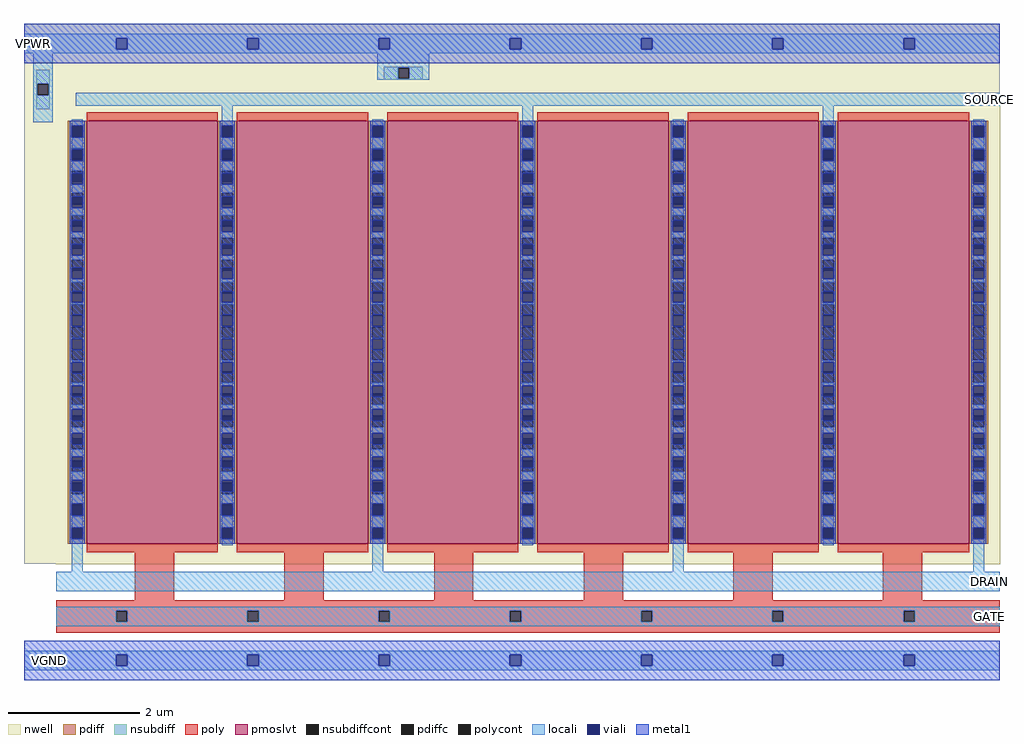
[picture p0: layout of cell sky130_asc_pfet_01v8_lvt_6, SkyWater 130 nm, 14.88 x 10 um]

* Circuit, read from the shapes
.subckt sky130_asc_pfet_01v8_lvt_6 GATE SOURCE DRAIN VPWR VGND
XM1 SOURCE GATE DRAIN VPWR sky130_fd_pr__pfet_01v8_lvt w=6.45 l=2 m=6
.ends

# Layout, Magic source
magic
tech sky130A
magscale 1 2
<< nwell >>
rect 120 1707 3094 1940
rect 120 294 3095 1707
rect 217 293 3095 294
<< pmoslvt >>
rect 311 355 711 1645
rect 769 355 1169 1645
rect 1227 355 1627 1645
rect 1685 355 2085 1645
rect 2143 355 2543 1645
rect 2601 355 3001 1645
<< pdiff >>
rect 253 1629 311 1645
rect 253 1595 265 1629
rect 299 1595 311 1629
rect 253 1561 311 1595
rect 253 1527 265 1561
rect 299 1527 311 1561
rect 253 1493 311 1527
rect 253 1459 265 1493
rect 299 1459 311 1493
rect 253 1425 311 1459
rect 253 1391 265 1425
rect 299 1391 311 1425
rect 253 1357 311 1391
rect 253 1323 265 1357
rect 299 1323 311 1357
rect 253 1289 311 1323
rect 253 1255 265 1289
rect 299 1255 311 1289
rect 253 1221 311 1255
rect 253 1187 265 1221
rect 299 1187 311 1221
rect 253 1153 311 1187
rect 253 1119 265 1153
rect 299 1119 311 1153
rect 253 1085 311 1119
rect 253 1051 265 1085
rect 299 1051 311 1085
rect 253 1017 311 1051
rect 253 983 265 1017
rect 299 983 311 1017
rect 253 949 311 983
rect 253 915 265 949
rect 299 915 311 949
rect 253 881 311 915
rect 253 847 265 881
rect 299 847 311 881
rect 253 813 311 847
rect 253 779 265 813
rect 299 779 311 813
rect 253 745 311 779
rect 253 711 265 745
rect 299 711 311 745
rect 253 677 311 711
rect 253 643 265 677
rect 299 643 311 677
rect 253 609 311 643
rect 253 575 265 609
rect 299 575 311 609
rect 253 541 311 575
rect 253 507 265 541
rect 299 507 311 541
rect 253 473 311 507
rect 253 439 265 473
rect 299 439 311 473
rect 253 405 311 439
rect 253 371 265 405
rect 299 371 311 405
rect 253 355 311 371
rect 711 1629 769 1645
rect 711 1595 723 1629
rect 757 1595 769 1629
rect 711 1561 769 1595
rect 711 1527 723 1561
rect 757 1527 769 1561
rect 711 1493 769 1527
rect 711 1459 723 1493
rect 757 1459 769 1493
rect 711 1425 769 1459
rect 711 1391 723 1425
rect 757 1391 769 1425
rect 711 1357 769 1391
rect 711 1323 723 1357
rect 757 1323 769 1357
rect 711 1289 769 1323
rect 711 1255 723 1289
rect 757 1255 769 1289
rect 711 1221 769 1255
rect 711 1187 723 1221
rect 757 1187 769 1221
rect 711 1153 769 1187
rect 711 1119 723 1153
rect 757 1119 769 1153
rect 711 1085 769 1119
rect 711 1051 723 1085
rect 757 1051 769 1085
rect 711 1017 769 1051
rect 711 983 723 1017
rect 757 983 769 1017
rect 711 949 769 983
rect 711 915 723 949
rect 757 915 769 949
rect 711 881 769 915
rect 711 847 723 881
rect 757 847 769 881
rect 711 813 769 847
rect 711 779 723 813
rect 757 779 769 813
rect 711 745 769 779
rect 711 711 723 745
rect 757 711 769 745
rect 711 677 769 711
rect 711 643 723 677
rect 757 643 769 677
rect 711 609 769 643
rect 711 575 723 609
rect 757 575 769 609
rect 711 541 769 575
rect 711 507 723 541
rect 757 507 769 541
rect 711 473 769 507
rect 711 439 723 473
rect 757 439 769 473
rect 711 405 769 439
rect 711 371 723 405
rect 757 371 769 405
rect 711 355 769 371
rect 1169 1629 1227 1645
rect 1169 1595 1181 1629
rect 1215 1595 1227 1629
rect 1169 1561 1227 1595
rect 1169 1527 1181 1561
rect 1215 1527 1227 1561
rect 1169 1493 1227 1527
rect 1169 1459 1181 1493
rect 1215 1459 1227 1493
rect 1169 1425 1227 1459
rect 1169 1391 1181 1425
rect 1215 1391 1227 1425
rect 1169 1357 1227 1391
rect 1169 1323 1181 1357
rect 1215 1323 1227 1357
rect 1169 1289 1227 1323
rect 1169 1255 1181 1289
rect 1215 1255 1227 1289
rect 1169 1221 1227 1255
rect 1169 1187 1181 1221
rect 1215 1187 1227 1221
rect 1169 1153 1227 1187
rect 1169 1119 1181 1153
rect 1215 1119 1227 1153
rect 1169 1085 1227 1119
rect 1169 1051 1181 1085
rect 1215 1051 1227 1085
rect 1169 1017 1227 1051
rect 1169 983 1181 1017
rect 1215 983 1227 1017
rect 1169 949 1227 983
rect 1169 915 1181 949
rect 1215 915 1227 949
rect 1169 881 1227 915
rect 1169 847 1181 881
rect 1215 847 1227 881
rect 1169 813 1227 847
rect 1169 779 1181 813
rect 1215 779 1227 813
rect 1169 745 1227 779
rect 1169 711 1181 745
rect 1215 711 1227 745
rect 1169 677 1227 711
rect 1169 643 1181 677
rect 1215 643 1227 677
rect 1169 609 1227 643
rect 1169 575 1181 609
rect 1215 575 1227 609
rect 1169 541 1227 575
rect 1169 507 1181 541
rect 1215 507 1227 541
rect 1169 473 1227 507
rect 1169 439 1181 473
rect 1215 439 1227 473
rect 1169 405 1227 439
rect 1169 371 1181 405
rect 1215 371 1227 405
rect 1169 355 1227 371
rect 1627 1629 1685 1645
rect 1627 1595 1639 1629
rect 1673 1595 1685 1629
rect 1627 1561 1685 1595
rect 1627 1527 1639 1561
rect 1673 1527 1685 1561
rect 1627 1493 1685 1527
rect 1627 1459 1639 1493
rect 1673 1459 1685 1493
rect 1627 1425 1685 1459
rect 1627 1391 1639 1425
rect 1673 1391 1685 1425
rect 1627 1357 1685 1391
rect 1627 1323 1639 1357
rect 1673 1323 1685 1357
rect 1627 1289 1685 1323
rect 1627 1255 1639 1289
rect 1673 1255 1685 1289
rect 1627 1221 1685 1255
rect 1627 1187 1639 1221
rect 1673 1187 1685 1221
rect 1627 1153 1685 1187
rect 1627 1119 1639 1153
rect 1673 1119 1685 1153
rect 1627 1085 1685 1119
rect 1627 1051 1639 1085
rect 1673 1051 1685 1085
rect 1627 1017 1685 1051
rect 1627 983 1639 1017
rect 1673 983 1685 1017
rect 1627 949 1685 983
rect 1627 915 1639 949
rect 1673 915 1685 949
rect 1627 881 1685 915
rect 1627 847 1639 881
rect 1673 847 1685 881
rect 1627 813 1685 847
rect 1627 779 1639 813
rect 1673 779 1685 813
rect 1627 745 1685 779
rect 1627 711 1639 745
rect 1673 711 1685 745
rect 1627 677 1685 711
rect 1627 643 1639 677
rect 1673 643 1685 677
rect 1627 609 1685 643
rect 1627 575 1639 609
rect 1673 575 1685 609
rect 1627 541 1685 575
rect 1627 507 1639 541
rect 1673 507 1685 541
rect 1627 473 1685 507
rect 1627 439 1639 473
rect 1673 439 1685 473
rect 1627 405 1685 439
rect 1627 371 1639 405
rect 1673 371 1685 405
rect 1627 355 1685 371
rect 2085 1629 2143 1645
rect 2085 1595 2097 1629
rect 2131 1595 2143 1629
rect 2085 1561 2143 1595
rect 2085 1527 2097 1561
rect 2131 1527 2143 1561
rect 2085 1493 2143 1527
rect 2085 1459 2097 1493
rect 2131 1459 2143 1493
rect 2085 1425 2143 1459
rect 2085 1391 2097 1425
rect 2131 1391 2143 1425
rect 2085 1357 2143 1391
rect 2085 1323 2097 1357
rect 2131 1323 2143 1357
rect 2085 1289 2143 1323
rect 2085 1255 2097 1289
rect 2131 1255 2143 1289
rect 2085 1221 2143 1255
rect 2085 1187 2097 1221
rect 2131 1187 2143 1221
rect 2085 1153 2143 1187
rect 2085 1119 2097 1153
rect 2131 1119 2143 1153
rect 2085 1085 2143 1119
rect 2085 1051 2097 1085
rect 2131 1051 2143 1085
rect 2085 1017 2143 1051
rect 2085 983 2097 1017
rect 2131 983 2143 1017
rect 2085 949 2143 983
rect 2085 915 2097 949
rect 2131 915 2143 949
rect 2085 881 2143 915
rect 2085 847 2097 881
rect 2131 847 2143 881
rect 2085 813 2143 847
rect 2085 779 2097 813
rect 2131 779 2143 813
rect 2085 745 2143 779
rect 2085 711 2097 745
rect 2131 711 2143 745
rect 2085 677 2143 711
rect 2085 643 2097 677
rect 2131 643 2143 677
rect 2085 609 2143 643
rect 2085 575 2097 609
rect 2131 575 2143 609
rect 2085 541 2143 575
rect 2085 507 2097 541
rect 2131 507 2143 541
rect 2085 473 2143 507
rect 2085 439 2097 473
rect 2131 439 2143 473
rect 2085 405 2143 439
rect 2085 371 2097 405
rect 2131 371 2143 405
rect 2085 355 2143 371
rect 2543 1629 2601 1645
rect 2543 1595 2555 1629
rect 2589 1595 2601 1629
rect 2543 1561 2601 1595
rect 2543 1527 2555 1561
rect 2589 1527 2601 1561
rect 2543 1493 2601 1527
rect 2543 1459 2555 1493
rect 2589 1459 2601 1493
rect 2543 1425 2601 1459
rect 2543 1391 2555 1425
rect 2589 1391 2601 1425
rect 2543 1357 2601 1391
rect 2543 1323 2555 1357
rect 2589 1323 2601 1357
rect 2543 1289 2601 1323
rect 2543 1255 2555 1289
rect 2589 1255 2601 1289
rect 2543 1221 2601 1255
rect 2543 1187 2555 1221
rect 2589 1187 2601 1221
rect 2543 1153 2601 1187
rect 2543 1119 2555 1153
rect 2589 1119 2601 1153
rect 2543 1085 2601 1119
rect 2543 1051 2555 1085
rect 2589 1051 2601 1085
rect 2543 1017 2601 1051
rect 2543 983 2555 1017
rect 2589 983 2601 1017
rect 2543 949 2601 983
rect 2543 915 2555 949
rect 2589 915 2601 949
rect 2543 881 2601 915
rect 2543 847 2555 881
rect 2589 847 2601 881
rect 2543 813 2601 847
rect 2543 779 2555 813
rect 2589 779 2601 813
rect 2543 745 2601 779
rect 2543 711 2555 745
rect 2589 711 2601 745
rect 2543 677 2601 711
rect 2543 643 2555 677
rect 2589 643 2601 677
rect 2543 609 2601 643
rect 2543 575 2555 609
rect 2589 575 2601 609
rect 2543 541 2601 575
rect 2543 507 2555 541
rect 2589 507 2601 541
rect 2543 473 2601 507
rect 2543 439 2555 473
rect 2589 439 2601 473
rect 2543 405 2601 439
rect 2543 371 2555 405
rect 2589 371 2601 405
rect 2543 355 2601 371
rect 3001 1629 3059 1645
rect 3001 1595 3013 1629
rect 3047 1595 3059 1629
rect 3001 1561 3059 1595
rect 3001 1527 3013 1561
rect 3047 1527 3059 1561
rect 3001 1493 3059 1527
rect 3001 1459 3013 1493
rect 3047 1459 3059 1493
rect 3001 1425 3059 1459
rect 3001 1391 3013 1425
rect 3047 1391 3059 1425
rect 3001 1357 3059 1391
rect 3001 1323 3013 1357
rect 3047 1323 3059 1357
rect 3001 1289 3059 1323
rect 3001 1255 3013 1289
rect 3047 1255 3059 1289
rect 3001 1221 3059 1255
rect 3001 1187 3013 1221
rect 3047 1187 3059 1221
rect 3001 1153 3059 1187
rect 3001 1119 3013 1153
rect 3047 1119 3059 1153
rect 3001 1085 3059 1119
rect 3001 1051 3013 1085
rect 3047 1051 3059 1085
rect 3001 1017 3059 1051
rect 3001 983 3013 1017
rect 3047 983 3059 1017
rect 3001 949 3059 983
rect 3001 915 3013 949
rect 3047 915 3059 949
rect 3001 881 3059 915
rect 3001 847 3013 881
rect 3047 847 3059 881
rect 3001 813 3059 847
rect 3001 779 3013 813
rect 3047 779 3059 813
rect 3001 745 3059 779
rect 3001 711 3013 745
rect 3047 711 3059 745
rect 3001 677 3059 711
rect 3001 643 3013 677
rect 3047 643 3059 677
rect 3001 609 3059 643
rect 3001 575 3013 609
rect 3047 575 3059 609
rect 3001 541 3059 575
rect 3001 507 3013 541
rect 3047 507 3059 541
rect 3001 473 3059 507
rect 3001 439 3013 473
rect 3047 439 3059 473
rect 3001 405 3059 439
rect 3001 371 3013 405
rect 3047 371 3059 405
rect 3001 355 3059 371
<< pdiffc >>
rect 265 1595 299 1629
rect 265 1527 299 1561
rect 265 1459 299 1493
rect 265 1391 299 1425
rect 265 1323 299 1357
rect 265 1255 299 1289
rect 265 1187 299 1221
rect 265 1119 299 1153
rect 265 1051 299 1085
rect 265 983 299 1017
rect 265 915 299 949
rect 265 847 299 881
rect 265 779 299 813
rect 265 711 299 745
rect 265 643 299 677
rect 265 575 299 609
rect 265 507 299 541
rect 265 439 299 473
rect 265 371 299 405
rect 723 1595 757 1629
rect 723 1527 757 1561
rect 723 1459 757 1493
rect 723 1391 757 1425
rect 723 1323 757 1357
rect 723 1255 757 1289
rect 723 1187 757 1221
rect 723 1119 757 1153
rect 723 1051 757 1085
rect 723 983 757 1017
rect 723 915 757 949
rect 723 847 757 881
rect 723 779 757 813
rect 723 711 757 745
rect 723 643 757 677
rect 723 575 757 609
rect 723 507 757 541
rect 723 439 757 473
rect 723 371 757 405
rect 1181 1595 1215 1629
rect 1181 1527 1215 1561
rect 1181 1459 1215 1493
rect 1181 1391 1215 1425
rect 1181 1323 1215 1357
rect 1181 1255 1215 1289
rect 1181 1187 1215 1221
rect 1181 1119 1215 1153
rect 1181 1051 1215 1085
rect 1181 983 1215 1017
rect 1181 915 1215 949
rect 1181 847 1215 881
rect 1181 779 1215 813
rect 1181 711 1215 745
rect 1181 643 1215 677
rect 1181 575 1215 609
rect 1181 507 1215 541
rect 1181 439 1215 473
rect 1181 371 1215 405
rect 1639 1595 1673 1629
rect 1639 1527 1673 1561
rect 1639 1459 1673 1493
rect 1639 1391 1673 1425
rect 1639 1323 1673 1357
rect 1639 1255 1673 1289
rect 1639 1187 1673 1221
rect 1639 1119 1673 1153
rect 1639 1051 1673 1085
rect 1639 983 1673 1017
rect 1639 915 1673 949
rect 1639 847 1673 881
rect 1639 779 1673 813
rect 1639 711 1673 745
rect 1639 643 1673 677
rect 1639 575 1673 609
rect 1639 507 1673 541
rect 1639 439 1673 473
rect 1639 371 1673 405
rect 2097 1595 2131 1629
rect 2097 1527 2131 1561
rect 2097 1459 2131 1493
rect 2097 1391 2131 1425
rect 2097 1323 2131 1357
rect 2097 1255 2131 1289
rect 2097 1187 2131 1221
rect 2097 1119 2131 1153
rect 2097 1051 2131 1085
rect 2097 983 2131 1017
rect 2097 915 2131 949
rect 2097 847 2131 881
rect 2097 779 2131 813
rect 2097 711 2131 745
rect 2097 643 2131 677
rect 2097 575 2131 609
rect 2097 507 2131 541
rect 2097 439 2131 473
rect 2097 371 2131 405
rect 2555 1595 2589 1629
rect 2555 1527 2589 1561
rect 2555 1459 2589 1493
rect 2555 1391 2589 1425
rect 2555 1323 2589 1357
rect 2555 1255 2589 1289
rect 2555 1187 2589 1221
rect 2555 1119 2589 1153
rect 2555 1051 2589 1085
rect 2555 983 2589 1017
rect 2555 915 2589 949
rect 2555 847 2589 881
rect 2555 779 2589 813
rect 2555 711 2589 745
rect 2555 643 2589 677
rect 2555 575 2589 609
rect 2555 507 2589 541
rect 2555 439 2589 473
rect 2555 371 2589 405
rect 3013 1595 3047 1629
rect 3013 1527 3047 1561
rect 3013 1459 3047 1493
rect 3013 1391 3047 1425
rect 3013 1323 3047 1357
rect 3013 1255 3047 1289
rect 3013 1187 3047 1221
rect 3013 1119 3047 1153
rect 3013 1051 3047 1085
rect 3013 983 3047 1017
rect 3013 915 3047 949
rect 3013 847 3047 881
rect 3013 779 3047 813
rect 3013 711 3047 745
rect 3013 643 3047 677
rect 3013 575 3047 609
rect 3013 507 3047 541
rect 3013 439 3047 473
rect 3013 371 3047 405
<< nsubdiff >>
rect 1216 1807 1336 1810
rect 158 1757 198 1800
rect 1216 1773 1261 1807
rect 1295 1773 1336 1807
rect 1216 1770 1336 1773
rect 158 1723 161 1757
rect 195 1723 198 1757
rect 158 1680 198 1723
<< nsubdiffcont >>
rect 1261 1773 1295 1807
rect 161 1723 195 1757
<< poly >>
rect 311 1645 711 1671
rect 769 1645 1169 1671
rect 1227 1645 1627 1671
rect 1685 1645 2085 1671
rect 2143 1645 2543 1671
rect 2601 1645 3001 1671
rect 311 329 711 355
rect 769 329 1169 355
rect 1227 329 1627 355
rect 1685 329 2085 355
rect 2143 329 2543 355
rect 2601 329 3001 355
rect 458 184 578 329
rect 914 184 1034 329
rect 1370 184 1490 329
rect 1826 184 1946 329
rect 2282 184 2402 329
rect 2738 184 2858 329
rect 218 151 3094 184
rect 218 117 401 151
rect 435 117 801 151
rect 835 117 1201 151
rect 1235 117 1601 151
rect 1635 117 2001 151
rect 2035 117 2401 151
rect 2435 117 2801 151
rect 2835 117 3094 151
rect 218 84 3094 117
<< polycont >>
rect 401 117 435 151
rect 801 117 835 151
rect 1201 117 1235 151
rect 1601 117 1635 151
rect 2001 117 2035 151
rect 2401 117 2435 151
rect 2801 117 2835 151
<< locali >>
rect 120 1897 3094 1910
rect 120 1863 401 1897
rect 435 1863 801 1897
rect 835 1863 1201 1897
rect 1235 1863 1601 1897
rect 1635 1863 2001 1897
rect 2035 1863 2401 1897
rect 2435 1863 2801 1897
rect 2835 1863 3094 1897
rect 120 1850 3094 1863
rect 148 1757 208 1850
rect 1196 1807 1356 1850
rect 1196 1773 1261 1807
rect 1295 1773 1356 1807
rect 1196 1770 1356 1773
rect 148 1723 161 1757
rect 195 1723 208 1757
rect 148 1640 208 1723
rect 278 1690 3094 1730
rect 265 1629 299 1649
rect 265 1561 299 1595
rect 265 1493 299 1523
rect 265 1425 299 1451
rect 265 1357 299 1379
rect 265 1289 299 1307
rect 265 1221 299 1235
rect 265 1153 299 1163
rect 265 1085 299 1091
rect 265 1017 299 1019
rect 265 981 299 983
rect 265 909 299 915
rect 265 837 299 847
rect 265 765 299 779
rect 265 693 299 711
rect 265 621 299 643
rect 265 549 299 575
rect 265 477 299 507
rect 265 405 299 439
rect 265 270 299 371
rect 723 1629 757 1690
rect 723 1561 757 1595
rect 723 1493 757 1523
rect 723 1425 757 1451
rect 723 1357 757 1379
rect 723 1289 757 1307
rect 723 1221 757 1235
rect 723 1153 757 1163
rect 723 1085 757 1091
rect 723 1017 757 1019
rect 723 981 757 983
rect 723 909 757 915
rect 723 837 757 847
rect 723 765 757 779
rect 723 693 757 711
rect 723 621 757 643
rect 723 549 757 575
rect 723 477 757 507
rect 723 405 757 439
rect 723 351 757 371
rect 1181 1629 1215 1649
rect 1181 1561 1215 1595
rect 1181 1493 1215 1523
rect 1181 1425 1215 1451
rect 1181 1357 1215 1379
rect 1181 1289 1215 1307
rect 1181 1221 1215 1235
rect 1181 1153 1215 1163
rect 1181 1085 1215 1091
rect 1181 1017 1215 1019
rect 1181 981 1215 983
rect 1181 909 1215 915
rect 1181 837 1215 847
rect 1181 765 1215 779
rect 1181 693 1215 711
rect 1181 621 1215 643
rect 1181 549 1215 575
rect 1181 477 1215 507
rect 1181 405 1215 439
rect 1181 270 1215 371
rect 1639 1629 1673 1690
rect 1639 1561 1673 1595
rect 1639 1493 1673 1523
rect 1639 1425 1673 1451
rect 1639 1357 1673 1379
rect 1639 1289 1673 1307
rect 1639 1221 1673 1235
rect 1639 1153 1673 1163
rect 1639 1085 1673 1091
rect 1639 1017 1673 1019
rect 1639 981 1673 983
rect 1639 909 1673 915
rect 1639 837 1673 847
rect 1639 765 1673 779
rect 1639 693 1673 711
rect 1639 621 1673 643
rect 1639 549 1673 575
rect 1639 477 1673 507
rect 1639 405 1673 439
rect 1639 351 1673 371
rect 2097 1629 2131 1649
rect 2097 1561 2131 1595
rect 2097 1493 2131 1523
rect 2097 1425 2131 1451
rect 2097 1357 2131 1379
rect 2097 1289 2131 1307
rect 2097 1221 2131 1235
rect 2097 1153 2131 1163
rect 2097 1085 2131 1091
rect 2097 1017 2131 1019
rect 2097 981 2131 983
rect 2097 909 2131 915
rect 2097 837 2131 847
rect 2097 765 2131 779
rect 2097 693 2131 711
rect 2097 621 2131 643
rect 2097 549 2131 575
rect 2097 477 2131 507
rect 2097 405 2131 439
rect 2097 270 2131 371
rect 2555 1629 2589 1690
rect 2555 1561 2589 1595
rect 2555 1493 2589 1523
rect 2555 1425 2589 1451
rect 2555 1357 2589 1379
rect 2555 1289 2589 1307
rect 2555 1221 2589 1235
rect 2555 1153 2589 1163
rect 2555 1085 2589 1091
rect 2555 1017 2589 1019
rect 2555 981 2589 983
rect 2555 909 2589 915
rect 2555 837 2589 847
rect 2555 765 2589 779
rect 2555 693 2589 711
rect 2555 621 2589 643
rect 2555 549 2589 575
rect 2555 477 2589 507
rect 2555 405 2589 439
rect 2555 351 2589 371
rect 3013 1629 3047 1649
rect 3013 1561 3047 1595
rect 3013 1493 3047 1523
rect 3013 1425 3047 1451
rect 3013 1357 3047 1379
rect 3013 1289 3047 1307
rect 3013 1221 3047 1235
rect 3013 1153 3047 1163
rect 3013 1085 3047 1091
rect 3013 1017 3047 1019
rect 3013 981 3047 983
rect 3013 909 3047 915
rect 3013 837 3047 847
rect 3013 765 3047 779
rect 3013 693 3047 711
rect 3013 621 3047 643
rect 3013 549 3047 575
rect 3013 477 3047 507
rect 3013 405 3047 439
rect 3013 270 3047 371
rect 218 210 3094 270
rect 218 151 3094 164
rect 218 117 401 151
rect 435 117 801 151
rect 835 117 1201 151
rect 1235 117 1601 151
rect 1635 117 2001 151
rect 2035 117 2401 151
rect 2435 117 2801 151
rect 2835 117 3094 151
rect 218 104 3094 117
rect 120 17 3094 30
rect 120 -17 401 17
rect 435 -17 801 17
rect 835 -17 1201 17
rect 1235 -17 1601 17
rect 1635 -17 2001 17
rect 2035 -17 2401 17
rect 2435 -17 2801 17
rect 2835 -17 3094 17
rect 120 -30 3094 -17
<< viali >>
rect 401 1863 435 1897
rect 801 1863 835 1897
rect 1201 1863 1235 1897
rect 1601 1863 1635 1897
rect 2001 1863 2035 1897
rect 2401 1863 2435 1897
rect 2801 1863 2835 1897
rect 265 1595 299 1629
rect 265 1527 299 1557
rect 265 1523 299 1527
rect 265 1459 299 1485
rect 265 1451 299 1459
rect 265 1391 299 1413
rect 265 1379 299 1391
rect 265 1323 299 1341
rect 265 1307 299 1323
rect 265 1255 299 1269
rect 265 1235 299 1255
rect 265 1187 299 1197
rect 265 1163 299 1187
rect 265 1119 299 1125
rect 265 1091 299 1119
rect 265 1051 299 1053
rect 265 1019 299 1051
rect 265 949 299 981
rect 265 947 299 949
rect 265 881 299 909
rect 265 875 299 881
rect 265 813 299 837
rect 265 803 299 813
rect 265 745 299 765
rect 265 731 299 745
rect 265 677 299 693
rect 265 659 299 677
rect 265 609 299 621
rect 265 587 299 609
rect 265 541 299 549
rect 265 515 299 541
rect 265 473 299 477
rect 265 443 299 473
rect 265 371 299 405
rect 723 1595 757 1629
rect 723 1527 757 1557
rect 723 1523 757 1527
rect 723 1459 757 1485
rect 723 1451 757 1459
rect 723 1391 757 1413
rect 723 1379 757 1391
rect 723 1323 757 1341
rect 723 1307 757 1323
rect 723 1255 757 1269
rect 723 1235 757 1255
rect 723 1187 757 1197
rect 723 1163 757 1187
rect 723 1119 757 1125
rect 723 1091 757 1119
rect 723 1051 757 1053
rect 723 1019 757 1051
rect 723 949 757 981
rect 723 947 757 949
rect 723 881 757 909
rect 723 875 757 881
rect 723 813 757 837
rect 723 803 757 813
rect 723 745 757 765
rect 723 731 757 745
rect 723 677 757 693
rect 723 659 757 677
rect 723 609 757 621
rect 723 587 757 609
rect 723 541 757 549
rect 723 515 757 541
rect 723 473 757 477
rect 723 443 757 473
rect 723 371 757 405
rect 1181 1595 1215 1629
rect 1181 1527 1215 1557
rect 1181 1523 1215 1527
rect 1181 1459 1215 1485
rect 1181 1451 1215 1459
rect 1181 1391 1215 1413
rect 1181 1379 1215 1391
rect 1181 1323 1215 1341
rect 1181 1307 1215 1323
rect 1181 1255 1215 1269
rect 1181 1235 1215 1255
rect 1181 1187 1215 1197
rect 1181 1163 1215 1187
rect 1181 1119 1215 1125
rect 1181 1091 1215 1119
rect 1181 1051 1215 1053
rect 1181 1019 1215 1051
rect 1181 949 1215 981
rect 1181 947 1215 949
rect 1181 881 1215 909
rect 1181 875 1215 881
rect 1181 813 1215 837
rect 1181 803 1215 813
rect 1181 745 1215 765
rect 1181 731 1215 745
rect 1181 677 1215 693
rect 1181 659 1215 677
rect 1181 609 1215 621
rect 1181 587 1215 609
rect 1181 541 1215 549
rect 1181 515 1215 541
rect 1181 473 1215 477
rect 1181 443 1215 473
rect 1181 371 1215 405
rect 1639 1595 1673 1629
rect 1639 1527 1673 1557
rect 1639 1523 1673 1527
rect 1639 1459 1673 1485
rect 1639 1451 1673 1459
rect 1639 1391 1673 1413
rect 1639 1379 1673 1391
rect 1639 1323 1673 1341
rect 1639 1307 1673 1323
rect 1639 1255 1673 1269
rect 1639 1235 1673 1255
rect 1639 1187 1673 1197
rect 1639 1163 1673 1187
rect 1639 1119 1673 1125
rect 1639 1091 1673 1119
rect 1639 1051 1673 1053
rect 1639 1019 1673 1051
rect 1639 949 1673 981
rect 1639 947 1673 949
rect 1639 881 1673 909
rect 1639 875 1673 881
rect 1639 813 1673 837
rect 1639 803 1673 813
rect 1639 745 1673 765
rect 1639 731 1673 745
rect 1639 677 1673 693
rect 1639 659 1673 677
rect 1639 609 1673 621
rect 1639 587 1673 609
rect 1639 541 1673 549
rect 1639 515 1673 541
rect 1639 473 1673 477
rect 1639 443 1673 473
rect 1639 371 1673 405
rect 2097 1595 2131 1629
rect 2097 1527 2131 1557
rect 2097 1523 2131 1527
rect 2097 1459 2131 1485
rect 2097 1451 2131 1459
rect 2097 1391 2131 1413
rect 2097 1379 2131 1391
rect 2097 1323 2131 1341
rect 2097 1307 2131 1323
rect 2097 1255 2131 1269
rect 2097 1235 2131 1255
rect 2097 1187 2131 1197
rect 2097 1163 2131 1187
rect 2097 1119 2131 1125
rect 2097 1091 2131 1119
rect 2097 1051 2131 1053
rect 2097 1019 2131 1051
rect 2097 949 2131 981
rect 2097 947 2131 949
rect 2097 881 2131 909
rect 2097 875 2131 881
rect 2097 813 2131 837
rect 2097 803 2131 813
rect 2097 745 2131 765
rect 2097 731 2131 745
rect 2097 677 2131 693
rect 2097 659 2131 677
rect 2097 609 2131 621
rect 2097 587 2131 609
rect 2097 541 2131 549
rect 2097 515 2131 541
rect 2097 473 2131 477
rect 2097 443 2131 473
rect 2097 371 2131 405
rect 2555 1595 2589 1629
rect 2555 1527 2589 1557
rect 2555 1523 2589 1527
rect 2555 1459 2589 1485
rect 2555 1451 2589 1459
rect 2555 1391 2589 1413
rect 2555 1379 2589 1391
rect 2555 1323 2589 1341
rect 2555 1307 2589 1323
rect 2555 1255 2589 1269
rect 2555 1235 2589 1255
rect 2555 1187 2589 1197
rect 2555 1163 2589 1187
rect 2555 1119 2589 1125
rect 2555 1091 2589 1119
rect 2555 1051 2589 1053
rect 2555 1019 2589 1051
rect 2555 949 2589 981
rect 2555 947 2589 949
rect 2555 881 2589 909
rect 2555 875 2589 881
rect 2555 813 2589 837
rect 2555 803 2589 813
rect 2555 745 2589 765
rect 2555 731 2589 745
rect 2555 677 2589 693
rect 2555 659 2589 677
rect 2555 609 2589 621
rect 2555 587 2589 609
rect 2555 541 2589 549
rect 2555 515 2589 541
rect 2555 473 2589 477
rect 2555 443 2589 473
rect 2555 371 2589 405
rect 3013 1595 3047 1629
rect 3013 1527 3047 1557
rect 3013 1523 3047 1527
rect 3013 1459 3047 1485
rect 3013 1451 3047 1459
rect 3013 1391 3047 1413
rect 3013 1379 3047 1391
rect 3013 1323 3047 1341
rect 3013 1307 3047 1323
rect 3013 1255 3047 1269
rect 3013 1235 3047 1255
rect 3013 1187 3047 1197
rect 3013 1163 3047 1187
rect 3013 1119 3047 1125
rect 3013 1091 3047 1119
rect 3013 1051 3047 1053
rect 3013 1019 3047 1051
rect 3013 949 3047 981
rect 3013 947 3047 949
rect 3013 881 3047 909
rect 3013 875 3047 881
rect 3013 813 3047 837
rect 3013 803 3047 813
rect 3013 745 3047 765
rect 3013 731 3047 745
rect 3013 677 3047 693
rect 3013 659 3047 677
rect 3013 609 3047 621
rect 3013 587 3047 609
rect 3013 541 3047 549
rect 3013 515 3047 541
rect 3013 473 3047 477
rect 3013 443 3047 473
rect 3013 371 3047 405
rect 401 -17 435 17
rect 801 -17 835 17
rect 1201 -17 1235 17
rect 1601 -17 1635 17
rect 2001 -17 2035 17
rect 2401 -17 2435 17
rect 2801 -17 2835 17
<< metal1 >>
rect 120 1897 3094 1940
rect 120 1863 401 1897
rect 435 1863 801 1897
rect 835 1863 1201 1897
rect 1235 1863 1601 1897
rect 1635 1863 2001 1897
rect 2035 1863 2401 1897
rect 2435 1863 2801 1897
rect 2835 1863 3094 1897
rect 120 1820 3094 1863
rect 259 1629 305 1645
rect 259 1595 265 1629
rect 299 1595 305 1629
rect 259 1557 305 1595
rect 259 1523 265 1557
rect 299 1523 305 1557
rect 259 1485 305 1523
rect 259 1451 265 1485
rect 299 1451 305 1485
rect 259 1413 305 1451
rect 259 1379 265 1413
rect 299 1379 305 1413
rect 259 1341 305 1379
rect 259 1307 265 1341
rect 299 1307 305 1341
rect 259 1269 305 1307
rect 259 1235 265 1269
rect 299 1235 305 1269
rect 259 1197 305 1235
rect 259 1163 265 1197
rect 299 1163 305 1197
rect 259 1125 305 1163
rect 259 1091 265 1125
rect 299 1091 305 1125
rect 259 1053 305 1091
rect 259 1019 265 1053
rect 299 1019 305 1053
rect 259 981 305 1019
rect 259 947 265 981
rect 299 947 305 981
rect 259 909 305 947
rect 259 875 265 909
rect 299 875 305 909
rect 259 837 305 875
rect 259 803 265 837
rect 299 803 305 837
rect 259 765 305 803
rect 259 731 265 765
rect 299 731 305 765
rect 259 693 305 731
rect 259 659 265 693
rect 299 659 305 693
rect 259 621 305 659
rect 259 587 265 621
rect 299 587 305 621
rect 259 549 305 587
rect 259 515 265 549
rect 299 515 305 549
rect 259 477 305 515
rect 259 443 265 477
rect 299 443 305 477
rect 259 405 305 443
rect 259 371 265 405
rect 299 371 305 405
rect 259 355 305 371
rect 717 1629 763 1645
rect 717 1595 723 1629
rect 757 1595 763 1629
rect 717 1557 763 1595
rect 717 1523 723 1557
rect 757 1523 763 1557
rect 717 1485 763 1523
rect 717 1451 723 1485
rect 757 1451 763 1485
rect 717 1413 763 1451
rect 717 1379 723 1413
rect 757 1379 763 1413
rect 717 1341 763 1379
rect 717 1307 723 1341
rect 757 1307 763 1341
rect 717 1269 763 1307
rect 717 1235 723 1269
rect 757 1235 763 1269
rect 717 1197 763 1235
rect 717 1163 723 1197
rect 757 1163 763 1197
rect 717 1125 763 1163
rect 717 1091 723 1125
rect 757 1091 763 1125
rect 717 1053 763 1091
rect 717 1019 723 1053
rect 757 1019 763 1053
rect 717 981 763 1019
rect 717 947 723 981
rect 757 947 763 981
rect 717 909 763 947
rect 717 875 723 909
rect 757 875 763 909
rect 717 837 763 875
rect 717 803 723 837
rect 757 803 763 837
rect 717 765 763 803
rect 717 731 723 765
rect 757 731 763 765
rect 717 693 763 731
rect 717 659 723 693
rect 757 659 763 693
rect 717 621 763 659
rect 717 587 723 621
rect 757 587 763 621
rect 717 549 763 587
rect 717 515 723 549
rect 757 515 763 549
rect 717 477 763 515
rect 717 443 723 477
rect 757 443 763 477
rect 717 405 763 443
rect 717 371 723 405
rect 757 371 763 405
rect 717 355 763 371
rect 1175 1629 1221 1645
rect 1175 1595 1181 1629
rect 1215 1595 1221 1629
rect 1175 1557 1221 1595
rect 1175 1523 1181 1557
rect 1215 1523 1221 1557
rect 1175 1485 1221 1523
rect 1175 1451 1181 1485
rect 1215 1451 1221 1485
rect 1175 1413 1221 1451
rect 1175 1379 1181 1413
rect 1215 1379 1221 1413
rect 1175 1341 1221 1379
rect 1175 1307 1181 1341
rect 1215 1307 1221 1341
rect 1175 1269 1221 1307
rect 1175 1235 1181 1269
rect 1215 1235 1221 1269
rect 1175 1197 1221 1235
rect 1175 1163 1181 1197
rect 1215 1163 1221 1197
rect 1175 1125 1221 1163
rect 1175 1091 1181 1125
rect 1215 1091 1221 1125
rect 1175 1053 1221 1091
rect 1175 1019 1181 1053
rect 1215 1019 1221 1053
rect 1175 981 1221 1019
rect 1175 947 1181 981
rect 1215 947 1221 981
rect 1175 909 1221 947
rect 1175 875 1181 909
rect 1215 875 1221 909
rect 1175 837 1221 875
rect 1175 803 1181 837
rect 1215 803 1221 837
rect 1175 765 1221 803
rect 1175 731 1181 765
rect 1215 731 1221 765
rect 1175 693 1221 731
rect 1175 659 1181 693
rect 1215 659 1221 693
rect 1175 621 1221 659
rect 1175 587 1181 621
rect 1215 587 1221 621
rect 1175 549 1221 587
rect 1175 515 1181 549
rect 1215 515 1221 549
rect 1175 477 1221 515
rect 1175 443 1181 477
rect 1215 443 1221 477
rect 1175 405 1221 443
rect 1175 371 1181 405
rect 1215 371 1221 405
rect 1175 355 1221 371
rect 1633 1629 1679 1645
rect 1633 1595 1639 1629
rect 1673 1595 1679 1629
rect 1633 1557 1679 1595
rect 1633 1523 1639 1557
rect 1673 1523 1679 1557
rect 1633 1485 1679 1523
rect 1633 1451 1639 1485
rect 1673 1451 1679 1485
rect 1633 1413 1679 1451
rect 1633 1379 1639 1413
rect 1673 1379 1679 1413
rect 1633 1341 1679 1379
rect 1633 1307 1639 1341
rect 1673 1307 1679 1341
rect 1633 1269 1679 1307
rect 1633 1235 1639 1269
rect 1673 1235 1679 1269
rect 1633 1197 1679 1235
rect 1633 1163 1639 1197
rect 1673 1163 1679 1197
rect 1633 1125 1679 1163
rect 1633 1091 1639 1125
rect 1673 1091 1679 1125
rect 1633 1053 1679 1091
rect 1633 1019 1639 1053
rect 1673 1019 1679 1053
rect 1633 981 1679 1019
rect 1633 947 1639 981
rect 1673 947 1679 981
rect 1633 909 1679 947
rect 1633 875 1639 909
rect 1673 875 1679 909
rect 1633 837 1679 875
rect 1633 803 1639 837
rect 1673 803 1679 837
rect 1633 765 1679 803
rect 1633 731 1639 765
rect 1673 731 1679 765
rect 1633 693 1679 731
rect 1633 659 1639 693
rect 1673 659 1679 693
rect 1633 621 1679 659
rect 1633 587 1639 621
rect 1673 587 1679 621
rect 1633 549 1679 587
rect 1633 515 1639 549
rect 1673 515 1679 549
rect 1633 477 1679 515
rect 1633 443 1639 477
rect 1673 443 1679 477
rect 1633 405 1679 443
rect 1633 371 1639 405
rect 1673 371 1679 405
rect 1633 355 1679 371
rect 2091 1629 2137 1645
rect 2091 1595 2097 1629
rect 2131 1595 2137 1629
rect 2091 1557 2137 1595
rect 2091 1523 2097 1557
rect 2131 1523 2137 1557
rect 2091 1485 2137 1523
rect 2091 1451 2097 1485
rect 2131 1451 2137 1485
rect 2091 1413 2137 1451
rect 2091 1379 2097 1413
rect 2131 1379 2137 1413
rect 2091 1341 2137 1379
rect 2091 1307 2097 1341
rect 2131 1307 2137 1341
rect 2091 1269 2137 1307
rect 2091 1235 2097 1269
rect 2131 1235 2137 1269
rect 2091 1197 2137 1235
rect 2091 1163 2097 1197
rect 2131 1163 2137 1197
rect 2091 1125 2137 1163
rect 2091 1091 2097 1125
rect 2131 1091 2137 1125
rect 2091 1053 2137 1091
rect 2091 1019 2097 1053
rect 2131 1019 2137 1053
rect 2091 981 2137 1019
rect 2091 947 2097 981
rect 2131 947 2137 981
rect 2091 909 2137 947
rect 2091 875 2097 909
rect 2131 875 2137 909
rect 2091 837 2137 875
rect 2091 803 2097 837
rect 2131 803 2137 837
rect 2091 765 2137 803
rect 2091 731 2097 765
rect 2131 731 2137 765
rect 2091 693 2137 731
rect 2091 659 2097 693
rect 2131 659 2137 693
rect 2091 621 2137 659
rect 2091 587 2097 621
rect 2131 587 2137 621
rect 2091 549 2137 587
rect 2091 515 2097 549
rect 2131 515 2137 549
rect 2091 477 2137 515
rect 2091 443 2097 477
rect 2131 443 2137 477
rect 2091 405 2137 443
rect 2091 371 2097 405
rect 2131 371 2137 405
rect 2091 355 2137 371
rect 2549 1629 2595 1645
rect 2549 1595 2555 1629
rect 2589 1595 2595 1629
rect 2549 1557 2595 1595
rect 2549 1523 2555 1557
rect 2589 1523 2595 1557
rect 2549 1485 2595 1523
rect 2549 1451 2555 1485
rect 2589 1451 2595 1485
rect 2549 1413 2595 1451
rect 2549 1379 2555 1413
rect 2589 1379 2595 1413
rect 2549 1341 2595 1379
rect 2549 1307 2555 1341
rect 2589 1307 2595 1341
rect 2549 1269 2595 1307
rect 2549 1235 2555 1269
rect 2589 1235 2595 1269
rect 2549 1197 2595 1235
rect 2549 1163 2555 1197
rect 2589 1163 2595 1197
rect 2549 1125 2595 1163
rect 2549 1091 2555 1125
rect 2589 1091 2595 1125
rect 2549 1053 2595 1091
rect 2549 1019 2555 1053
rect 2589 1019 2595 1053
rect 2549 981 2595 1019
rect 2549 947 2555 981
rect 2589 947 2595 981
rect 2549 909 2595 947
rect 2549 875 2555 909
rect 2589 875 2595 909
rect 2549 837 2595 875
rect 2549 803 2555 837
rect 2589 803 2595 837
rect 2549 765 2595 803
rect 2549 731 2555 765
rect 2589 731 2595 765
rect 2549 693 2595 731
rect 2549 659 2555 693
rect 2589 659 2595 693
rect 2549 621 2595 659
rect 2549 587 2555 621
rect 2589 587 2595 621
rect 2549 549 2595 587
rect 2549 515 2555 549
rect 2589 515 2595 549
rect 2549 477 2595 515
rect 2549 443 2555 477
rect 2589 443 2595 477
rect 2549 405 2595 443
rect 2549 371 2555 405
rect 2589 371 2595 405
rect 2549 355 2595 371
rect 3007 1629 3053 1645
rect 3007 1595 3013 1629
rect 3047 1595 3053 1629
rect 3007 1557 3053 1595
rect 3007 1523 3013 1557
rect 3047 1523 3053 1557
rect 3007 1485 3053 1523
rect 3007 1451 3013 1485
rect 3047 1451 3053 1485
rect 3007 1413 3053 1451
rect 3007 1379 3013 1413
rect 3047 1379 3053 1413
rect 3007 1341 3053 1379
rect 3007 1307 3013 1341
rect 3047 1307 3053 1341
rect 3007 1269 3053 1307
rect 3007 1235 3013 1269
rect 3047 1235 3053 1269
rect 3007 1197 3053 1235
rect 3007 1163 3013 1197
rect 3047 1163 3053 1197
rect 3007 1125 3053 1163
rect 3007 1091 3013 1125
rect 3047 1091 3053 1125
rect 3007 1053 3053 1091
rect 3007 1019 3013 1053
rect 3047 1019 3053 1053
rect 3007 981 3053 1019
rect 3007 947 3013 981
rect 3047 947 3053 981
rect 3007 909 3053 947
rect 3007 875 3013 909
rect 3047 875 3053 909
rect 3007 837 3053 875
rect 3007 803 3013 837
rect 3047 803 3053 837
rect 3007 765 3053 803
rect 3007 731 3013 765
rect 3047 731 3053 765
rect 3007 693 3053 731
rect 3007 659 3013 693
rect 3047 659 3053 693
rect 3007 621 3053 659
rect 3007 587 3013 621
rect 3047 587 3053 621
rect 3007 549 3053 587
rect 3007 515 3013 549
rect 3047 515 3053 549
rect 3007 477 3053 515
rect 3007 443 3013 477
rect 3047 443 3053 477
rect 3007 405 3053 443
rect 3007 371 3013 405
rect 3047 371 3053 405
rect 3007 355 3053 371
rect 120 17 3094 60
rect 120 -17 401 17
rect 435 -17 801 17
rect 835 -17 1201 17
rect 1235 -17 1601 17
rect 1635 -17 2001 17
rect 2035 -17 2401 17
rect 2435 -17 2801 17
rect 2835 -17 3094 17
rect 120 -60 3094 -17
<< labels >>
flabel locali s 3034 104 3094 164 1 FreeSans 1250 0 0 0 GATE
port 1 nsew
flabel locali s 3034 1690 3094 1730 1 FreeSans 1250 0 0 0 SOURCE
port 2 nsew
flabel locali s 3034 210 3094 270 1 FreeSans 1250 0 0 0 DRAIN
port 3 nsew
flabel nwell s 120 1850 180 1910 1 FreeSans 1250 0 0 0 VPWR
port 4 nsew
flabel metal1 s 120 -30 278 30 1 FreeSans 1250 0 0 0 VGND
port 5 nsew
<< properties >>
string FIXED_BBOX 0 0 3395 1880
<< end >>
